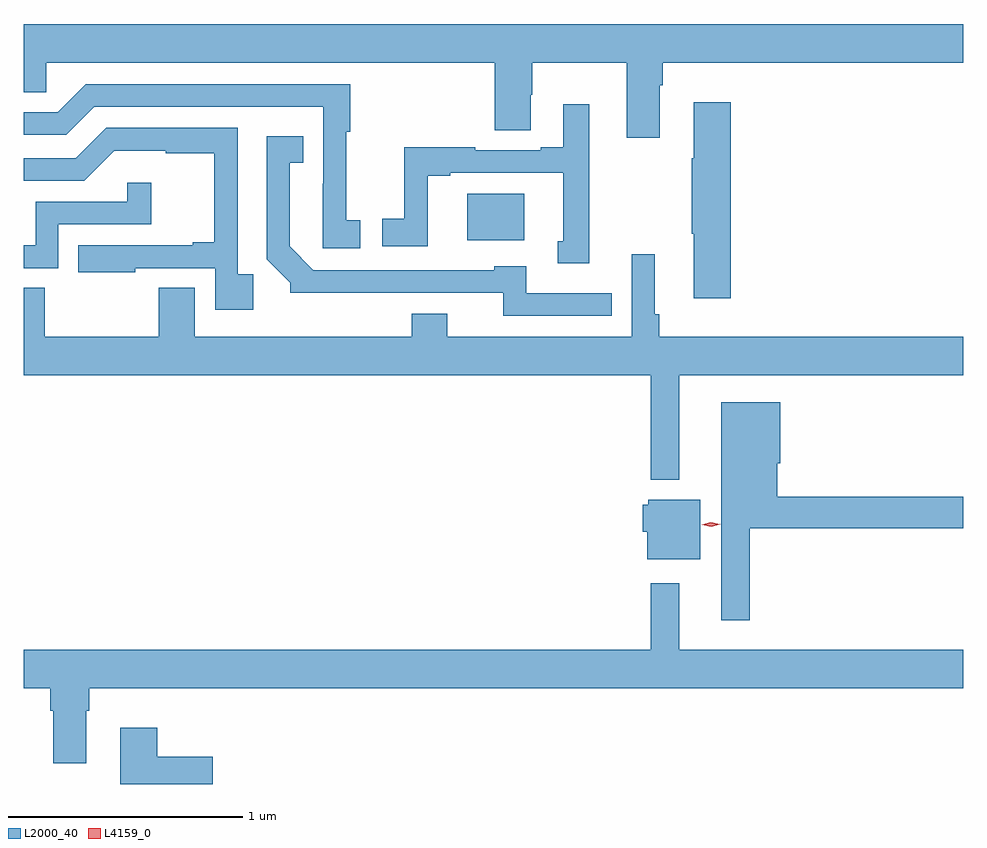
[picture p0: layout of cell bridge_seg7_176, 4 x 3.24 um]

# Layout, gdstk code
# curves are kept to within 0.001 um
import gdstk
lib = gdstk.Library(unit=1e-6, precision=1e-09)
def R(c, l, rs):  # rectangles x0, y0, x1, y1
    for r in rs: c.add(gdstk.rectangle(r[:2], r[2:], *l))
def P(c, l, *ps):  # polygons
    for p in ps: c.add(gdstk.Polygon(p, *l))
L2000_40 = (2000, 40)
L4159_0 = (4159, 0)

bridge_seg7_176 = lib.new_cell('bridge_seg7_176')
R(bridge_seg7_176, L2000_40, [(450.311,1074.452,450.553,1074.649)])
P(bridge_seg7_176, L2000_40, [(448.422,1075.081),(448.518,1075.081),(448.518,1075.208),(450.428,1075.208),(450.428,1074.919),(450.58,1074.919),(450.58,1075.07),(450.588,1075.07),(450.588,1075.208),(450.989,1075.208),(450.989,1074.888),(451.129,1074.888),(451.129,1075.112),(451.142,1075.112),(451.142,1075.208),(452.422,1075.208),(452.422,1075.372),(448.422,1075.372)],
  [(449.854,1074.537),(449.796,1074.537),(449.796,1074.913),(449.813,1074.913),(449.813,1075.116),(448.686,1075.116),(448.566,1074.996),(448.422,1074.996),(448.422,1074.9),(448.602,1074.9),(448.722,1075.02),(449.697,1075.02),(449.696,1074.417),(449.854,1074.417)],
  [(451.433,1075.039),(451.274,1075.039),(451.274,1074.8),(451.267,1074.8),(451.267,1074.478),(451.274,1074.478),(451.274,1074.204),(451.433,1074.204)],
  [(450.829,1075.03),(450.719,1075.03),(450.719,1074.847),(450.623,1074.847),(450.623,1074.834),(450.344,1074.834),(450.344,1074.847),(450.043,1074.847),(450.043,1074.542),(449.949,1074.542),(449.949,1074.426),(450.142,1074.426),(450.142,1074.726),(450.238,1074.726),(450.238,1074.738),(450.719,1074.738),(450.719,1074.447),(450.695,1074.447),(450.695,1074.353),(450.829,1074.353)],
  [(449.399,1074.307),(449.334,1074.307),(449.334,1074.93),(448.773,1074.93),(448.644,1074.801),(448.422,1074.801),(448.422,1074.705),(448.68,1074.705),(448.808,1074.833),(449.027,1074.833),(449.027,1074.822),(449.233,1074.822),(449.233,1074.442),(449.141,1074.442),(449.141,1074.429),(448.654,1074.429),(448.654,1074.314),(448.897,1074.314),(448.897,1074.333),(449.238,1074.333),(449.238,1074.156),(449.399,1074.156)],
  [(450.926,1074.225),(450.562,1074.225),(450.562,1074.34),(450.426,1074.34),(450.426,1074.324),(449.655,1074.324),(449.554,1074.425),(449.554,1074.782),(449.612,1074.782),(449.612,1074.895),(449.457,1074.895),(449.457,1074.37),(449.556,1074.271),(449.556,1074.227),(450.463,1074.228),(450.463,1074.129),(450.926,1074.129)],
  [(448.569,1074.519),(448.964,1074.519),(448.964,1074.697),(448.863,1074.697),(448.863,1074.615),(448.473,1074.615),(448.473,1074.429),(448.422,1074.429),(448.422,1074.333),(448.569,1074.333)],
  [(451.213,1073.876),(452.422,1073.876),(452.422,1074.04),(451.127,1074.04),(451.127,1074.136),(451.108,1074.136),(451.108,1074.391),(451.011,1074.391),(451.011,1074.04),(450.226,1074.04),(450.226,1074.139),(450.074,1074.139),(450.074,1074.04),(449.149,1074.04),(449.149,1074.248),(448.997,1074.248),(448.997,1074.04),(448.511,1074.04),(448.511,1074.248),(448.422,1074.248),(448.422,1073.876),(451.092,1073.876),(451.092,1073.432),(451.213,1073.432)],
  [(451.513,1073.224),(452.422,1073.224),(452.422,1073.36),(451.63,1073.36),(451.63,1073.502),(451.642,1073.502),(451.642,1073.761),(451.391,1073.761),(451.391,1072.833),(451.513,1072.833)],
  [(451.303,1073.347),(451.08,1073.347),(451.08,1073.325),(451.058,1073.325),(451.058,1073.211),(451.076,1073.211),(451.076,1073.093),(451.303,1073.093)],
  [(452.422,1072.708),(451.213,1072.708),(451.213,1072.99),(451.092,1072.99),(451.092,1072.708),(448.422,1072.708),(448.422,1072.544),(448.535,1072.544),(448.535,1072.448),(448.547,1072.448),(448.547,1072.224),(448.687,1072.224),(448.687,1072.448),(448.7,1072.448),(448.7,1072.544),(452.422,1072.544)],
  [(449.227,1072.251),(448.991,1072.251),(448.991,1072.375),(448.832,1072.375),(448.832,1072.136),(449.227,1072.136)])
P(bridge_seg7_176, L4159_0, [(451.349,1073.231),(451.309,1073.239),(451.309,1073.239),(451.309,1073.239),(451.348,1073.251),(451.388,1073.243),(451.388,1073.243),(451.388,1073.242)])

lib.write_gds('bridge_seg7_176.gds')
